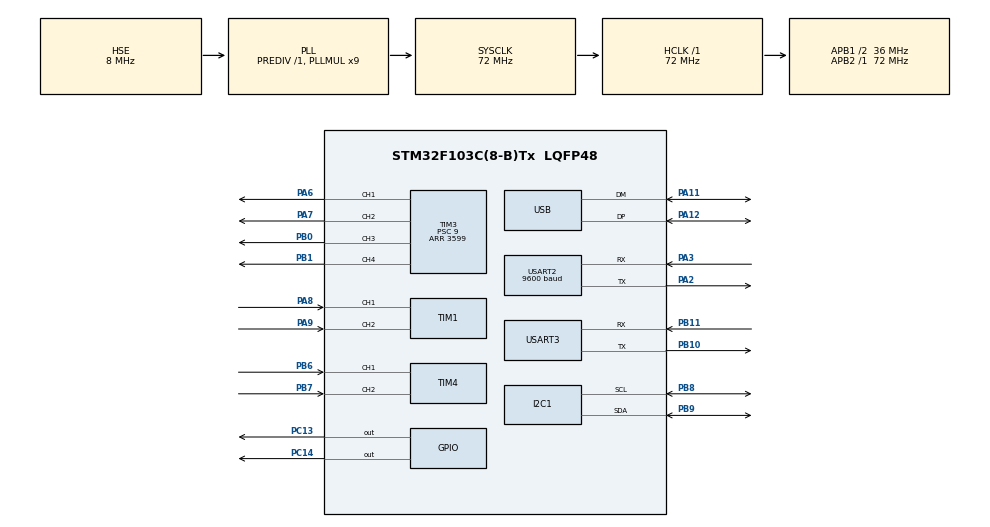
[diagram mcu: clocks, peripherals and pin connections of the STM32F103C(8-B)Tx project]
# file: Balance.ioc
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Mcu.Family=STM32F1
Mcu.Name=STM32F103C(8-B)Tx
Mcu.Package=LQFP48
NVIC.PriorityGroup=NVIC_PRIORITYGROUP_4
NVIC.TIM2_IRQn=true\:1\:0\:true\:false\:true\:true\:true\:true
NVIC.USART2_IRQn=true\:2\:0\:true\:false\:true\:true\:true\:true
PA11.Mode=Device
PA11.Signal=USB_DM
PA12.Mode=Device
PA12.Signal=USB_DP
PA13.Mode=Serial_Wire
PA13.Signal=SYS_JTMS-SWDIO
PA14.Mode=Serial_Wire
PA14.Signal=SYS_JTCK-SWCLK
PA2.Mode=Asynchronous
PA2.Signal=USART2_TX
PA3.Mode=Asynchronous
PA3.Signal=USART2_RX
PA6.Signal=S_TIM3_CH1
PA7.Signal=S_TIM3_CH2
PA8.Signal=S_TIM1_CH1
PA9.Signal=S_TIM1_CH2
PB0.Signal=S_TIM3_CH3
PB1.Signal=S_TIM3_CH4
PB10.Mode=Asynchronous
PB10.Signal=USART3_TX
PB11.Mode=Asynchronous
PB11.Signal=USART3_RX
PB6.Signal=S_TIM4_CH1
PB7.Signal=S_TIM4_CH2
PB8.Mode=I2C
PB8.Signal=I2C1_SCL
PB9.Mode=I2C
PB9.Signal=I2C1_SDA
PC13-TAMPER-RTC.Signal=GPIO_Output
PC14-OSC32_IN.Signal=GPIO_Output
PD0-OSC_IN.Mode=HSE-External-Oscillator
PD0-OSC_IN.Signal=RCC_OSC_IN
PD1-OSC_OUT.Mode=HSE-External-Oscillator
PD1-OSC_OUT.Signal=RCC_OSC_OUT
ProjectManager.HeapSize=0x200
ProjectManager.StackSize=0x400
ProjectManager.TargetToolchain=STM32CubeIDE
RCC.AHBFreq_Value=72000000
RCC.APB1CLKDivider=RCC_HCLK_DIV2
RCC.APB1Freq_Value=36000000
RCC.APB1TimFreq_Value=72000000
RCC.APB2Freq_Value=72000000
RCC.APB2TimFreq_Value=72000000
RCC.HCLKFreq_Value=72000000
RCC.PLLMUL=RCC_PLL_MUL9
RCC.PLLSourceVirtual=RCC_PLLSOURCE_HSE
RCC.SYSCLKFreq_VALUE=72000000
RCC.SYSCLKSource=RCC_SYSCLKSOURCE_PLLCLK
RCC.USBFreq_Value=72000000
SH.S_TIM1_CH1.0=TIM1_CH1,Encoder_Interface
SH.S_TIM1_CH2.0=TIM1_CH2,Encoder_Interface
SH.S_TIM3_CH1.0=TIM3_CH1,PWM Generation1 CH1
SH.S_TIM3_CH2.0=TIM3_CH2,PWM Generation2 CH2
SH.S_TIM3_CH3.0=TIM3_CH3,PWM Generation3 CH3
SH.S_TIM3_CH4.0=TIM3_CH4,PWM Generation4 CH4
SH.S_TIM4_CH1.0=TIM4_CH1,Encoder_Interface
SH.S_TIM4_CH2.0=TIM4_CH2,Encoder_Interface
TIM2.Period=7199
TIM2.Prescaler=99
TIM3.Channel-PWM\ Generation1\ CH1=TIM_CHANNEL_1
TIM3.Channel-PWM\ Generation2\ CH2=TIM_CHANNEL_2
TIM3.Channel-PWM\ Generation3\ CH3=TIM_CHANNEL_3
TIM3.Channel-PWM\ Generation4\ CH4=TIM_CHANNEL_4
TIM3.Period=3599
TIM3.Prescaler=9
USART2.BaudRate=9600
USART2.VirtualMode=VM_ASYNC
USART3.VirtualMode=VM_ASYNC
VP_TIM2_VS_ClockSourceINT.Mode=Internal
VP_TIM3_VS_ClockSourceINT.Mode=Internal
board=custom

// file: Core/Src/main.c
/* USER CODE BEGIN Header */
/**
  ******************************************************************************
  * @file           : main.c
  * @brief          : Main program body
  ******************************************************************************
  * @attention
  *
  * Copyright (c) 2023 STMicroelectronics.
  * All rights reserved.
  *
  * This software is licensed under terms that can be found in the LICENSE file
  * in the root directory of this software component.
  * If no LICENSE file comes with this software, it is provided AS-IS.
  *
  ******************************************************************************
  */
/* USER CODE END Header */
#include "main.h"
#include "i2c.h"
#include "tim.h"
#include "usart.h"
#include "usb.h"
#include "gpio.h"

/* USER CODE BEGIN Includes */
#include "mpu6050.h"
#include "motor.h"
#include "Balance_fis.h"
#include <stdio.h>
#include <stdint.h>
#include <string.h>
#include <stdlib.h>
#include <complex.h>
/* USER CODE END Includes */

/* USER CODE BEGIN PD */

#define K_pitch 1/5
#define K_pitch_dot 1/100
#define K_u 3000
/* USER CODE END PD */

void SystemClock_Config(void);

/* USER CODE BEGIN 0 */

typedef struct {
	float pitch_dot;
	float pitch;
	float input[2];
	float output;
}Balance_t;

enum filter
{
	Kalman,
	CF,
	R,
	L,
	F,
	D
};

enum filter current;

uint32_t tim;

MPU6050_t MPU;
Motor_t motor1, motor2;
Balance_t Balance;

uint8_t buff[1];
int i;

uint8_t buffer[10];

char result[20];

/* USER CODE END 0 */

int main(void)
{

  /* MCU Configuration--------------------------------------------------------*/

  /* Reset of all peripherals, Initializes the Flash interface and the Systick. */
  HAL_Init();

  /* Configure the system clock */
  SystemClock_Config();

  /* Initialize all configured peripherals */
  MX_GPIO_Init();
  MX_TIM2_Init();
  MX_TIM3_Init();
  MX_USART2_UART_Init();
  MX_I2C1_Init();
  MX_TIM1_Init();
  MX_TIM4_Init();
  MX_USART3_UART_Init();
  MX_USB_PCD_Init();
  /* USER CODE BEGIN 2 */
  HAL_TIM_Base_Start_IT(&htim2);

  HAL_TIM_PWM_Start(&htim3, TIM_CHANNEL_1);
  HAL_TIM_PWM_Start(&htim3, TIM_CHANNEL_2);
  HAL_TIM_PWM_Start(&htim3, TIM_CHANNEL_3);
  HAL_TIM_PWM_Start(&htim3, TIM_CHANNEL_4);

  HAL_UART_Receive_IT(&huart2,(uint8_t*)buff, 1);
  HAL_UART_Transmit(&huart3, (uint8_t *)result, sizeof(result), 100);

  MPU6050_Init(&hi2c1);

  Balance_init();

  current = CF;

  /* USER CODE END 2 */

  /* Infinite loop */
  while (1)
  {

  }
}

void SystemClock_Config(void)
{
  RCC_OscInitTypeDef RCC_OscInitStruct = {0};
  RCC_ClkInitTypeDef RCC_ClkInitStruct = {0};
  RCC_PeriphCLKInitTypeDef PeriphClkInit = {0};

  /** Initializes the RCC Oscillators according to the specified parameters
  * in the RCC_OscInitTypeDef structure.
  */
  RCC_OscInitStruct.OscillatorType = RCC_OSCILLATORTYPE_HSE;
  RCC_OscInitStruct.HSEState = RCC_HSE_ON;
  RCC_OscInitStruct.HSEPredivValue = RCC_HSE_PREDIV_DIV1;
  RCC_OscInitStruct.HSIState = RCC_HSI_ON;
  RCC_OscInitStruct.PLL.PLLState = RCC_PLL_ON;
  RCC_OscInitStruct.PLL.PLLSource = RCC_PLLSOURCE_HSE;
  RCC_OscInitStruct.PLL.PLLMUL = RCC_PLL_MUL9;
  if (HAL_RCC_OscConfig(&RCC_OscInitStruct) != HAL_OK)
  {
    Error_Handler();
  }

  /** Initializes the CPU, AHB and APB buses clocks
  */
  RCC_ClkInitStruct.ClockType = RCC_CLOCKTYPE_HCLK|RCC_CLOCKTYPE_SYSCLK
                              |RCC_CLOCKTYPE_PCLK1|RCC_CLOCKTYPE_PCLK2;
  RCC_ClkInitStruct.SYSCLKSource = RCC_SYSCLKSOURCE_PLLCLK;
  RCC_ClkInitStruct.AHBCLKDivider = RCC_SYSCLK_DIV1;
  RCC_ClkInitStruct.APB1CLKDivider = RCC_HCLK_DIV2;
  RCC_ClkInitStruct.APB2CLKDivider = RCC_HCLK_DIV1;

  if (HAL_RCC_ClockConfig(&RCC_ClkInitStruct, FLASH_LATENCY_2) != HAL_OK)
  {
    Error_Handler();
  }
  PeriphClkInit.PeriphClockSelection = RCC_PERIPHCLK_USB;
  PeriphClkInit.UsbClockSelection = RCC_USBCLKSOURCE_PLL;
  if (HAL_RCCEx_PeriphCLKConfig(&PeriphClkInit) != HAL_OK)
  {
    Error_Handler();
  }
}

/* USER CODE BEGIN 4 */
void HAL_UART_RxCpltCallback(UART_HandleTypeDef *huart)
{

	    if(huart ->Instance == huart2.Instance)
	    {

	    	if(buff[0] == 'R')
	    		{
	    			current = R;
	    		}
	    	else if(buff[0] == 'L')
	    		{
	    			current = L;
	    		}
	    	else if(buff[0] == 'F')
	    		{
	    			current = F;
	    		}
	    	else if(buff[0] == 'D')
	    		{
	    		    current = D;
	    		}
	    	else if (buff[0] == 'C')
	    	{
	    		current = CF;
	    	}
	    	}
	    HAL_UART_Receive_IT(&huart2,(uint8_t*)buff, 1);

}

void HAL_TIM_PeriodElapsedCallback(TIM_HandleTypeDef *htim)
{

	  if(htim->Instance == htim2.Instance)
	  {

		  double dt = (double)(HAL_GetTick() - tim) / 1000;
		  tim = HAL_GetTick();

		  MPU6050_Read_All(&hi2c1, &MPU);

		  switch(current){

		  case Kalman:
			  MPU.KalmanAngleY += 1.12;

			  Balance.pitch_dot = (MPU.KalmanAngleY - Balance.pitch) / dt ;

			  Balance.input[0] = MPU.KalmanAngleY *  K_pitch;
			  Balance.input[1] = Balance.pitch_dot * K_pitch_dot;

			  Balance.pitch = MPU.KalmanAngleY;

			  Balance_run(Balance.input, &Balance.output);

			  if(Balance.input[0] < -10 || Balance.input[0] > 10)
				  	  {
					  	  Balance.output = 0;
				  	  }

			  MotorSetDuty1(Balance.output * K_u);
			  MotorSetDuty2(Balance.output * K_u);
			  break;

		  case CF:

			  Balance.pitch_dot = MPU.Gy;

			  Balance.input[0] = MPU.CFAngleY *  K_pitch;
			  Balance.input[1] = Balance.pitch_dot * K_pitch_dot;

			  Balance.pitch = MPU.CFAngleY;

			  Balance_run(Balance.input, &Balance.output);

			  if(Balance.input[0] < -10 || Balance.input[0] > 10)
				  	  {
					  	  Balance.output = 0;
				  	  }

			  MotorSetDuty1(Balance.output * K_u);
			  MotorSetDuty2(Balance.output * K_u);

			    double real[3] = {Balance.input[0], Balance.input[1], Balance.output};

			    strcpy(result, "=");
			    for (int i = 0; i < 3; i++) {
			          char buffer[20];
			          snprintf(buffer, sizeof(buffer), "%.2f", creal(real[i]));
			          strcat(result, buffer);

			          if (i < 2) {
			              strcat(result, ",");
			          }
			      }
			    strcat(result, "!");
			    HAL_UART_Transmit(&huart3, (uint8_t *)result, sizeof(result), 100);

			   break;
		   case R:
			              Balance.pitch_dot = MPU.Gy + 2;

			 			  Balance.input[0] = MPU.CFAngleY *  K_pitch;
			 			  Balance.input[1] = Balance.pitch_dot * K_pitch_dot;

			 			  Balance.pitch = MPU.CFAngleY;

			 			  Balance_run(Balance.input, &Balance.output);

			 			  if(Balance.input[0] < -10 || Balance.input[0] > 10)
			 				  	  {
			 					  	  Balance.output = 0;
			 				  	  }

			 			  MotorSetDuty1(Balance.output * K_u - 1000);
			 			  MotorSetDuty2(Balance.output * K_u);

				  if(Balance.input[0] < -0.75 || Balance.input[0] > 0.75)
					  	  {
						  	  current = CF;
					  	  }

			   break;
		   case L:
			                          Balance.pitch_dot = MPU.Gy + 2;

			  			 			  Balance.input[0] = MPU.CFAngleY *  K_pitch;
			  			 			  Balance.input[1] = Balance.pitch_dot * K_pitch_dot;

			  			 			  Balance.pitch = MPU.CFAngleY;

			  			 			  Balance_run(Balance.input, &Balance.output);

			  			 			  if(Balance.input[0] < -10 || Balance.input[0] > 10)
			  			 				  	  {
			  			 					  	  Balance.output = 0;
			  			 				  	  }

			  			 			  MotorSetDuty1(Balance.output * K_u );
			  			 			  MotorSetDuty2(Balance.output * K_u - 1000);
				  if(Balance.input[0] < -0.75 || Balance.input[0] > 0.75)
					  	  {
						  	  current = CF;
					  	  }

			   break;
		   case F:
			                                      Balance.pitch_dot = MPU.Gy + 2;

			   			  			 			  Balance.input[0] = MPU.CFAngleY *  K_pitch;
			   			  			 			  Balance.input[1] = Balance.pitch_dot * K_pitch_dot;

			   			  			 			  Balance.pitch = MPU.CFAngleY;

			   			  			 			  Balance_run(Balance.input, &Balance.output);

			   			  			 			  if(Balance.input[0] < -10 || Balance.input[0] > 10)
			   			  			 				  	  {
			   			  			 					  	  Balance.output = 0;
			   			  			 				  	  }

			   			  			 			  MotorSetDuty1(Balance.output * K_u );
			   			  			 			  MotorSetDuty2(Balance.output * K_u);
				  if(Balance.input[0] < -0.75 || Balance.input[0] > 0.75)
					  	  {
						  	  current = CF;
					  	  }

			   break;
		   case D:
			   Balance.pitch_dot = MPU.Gy - 2;

			 			   			  			 			  Balance.input[0] = MPU.CFAngleY *  K_pitch;
			 			   			  			 			  Balance.input[1] = Balance.pitch_dot * K_pitch_dot;

			 			   			  			 			  Balance.pitch = MPU.CFAngleY;

			 			   			  			 			  Balance_run(Balance.input, &Balance.output);

			 			   			  			 			  if(Balance.input[0] < -10 || Balance.input[0] > 10)
			 			   			  			 				  	  {
			 			   			  			 					  	  Balance.output = 0;
			 			   			  			 				  	  }

			 			   			  			 			  MotorSetDuty1(Balance.output * K_u );
			 			   			  			 			  MotorSetDuty2(Balance.output * K_u);
				  if(Balance.input[0] < -0.75 || Balance.input[0] > 0.75)
					  	  {
						  	  current = CF;
					  	  }

			   break;

		  }

		  		  current = CF;
	  }
}

/* USER CODE END 4 */

void Error_Handler(void)
{
  __disable_irq();
  while (1)
  {
  }
}
